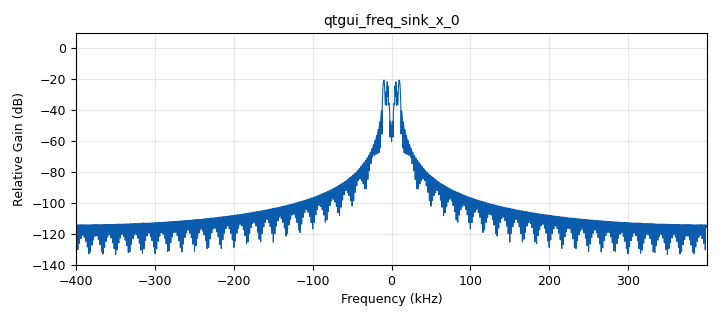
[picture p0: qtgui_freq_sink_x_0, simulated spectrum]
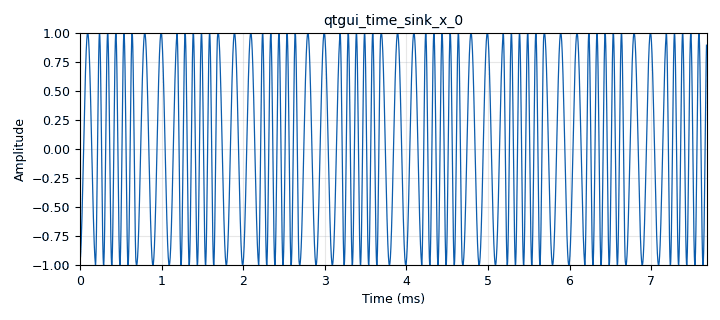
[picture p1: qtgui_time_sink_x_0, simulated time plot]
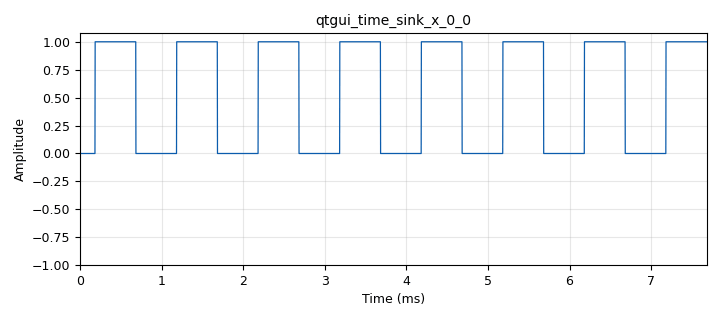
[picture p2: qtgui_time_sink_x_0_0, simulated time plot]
options:
  parameters:
    generate_options: qt_gui
    id: Lab3
    output_language: python
    title: Not titled yet
  states: {}

blocks:
- name: samp_rate
  id: variable
  parameters:
    value: '800000'
  states: {}
- name: analog_sig_source_x_0
  id: analog_sig_source_x
  parameters:
    amp: '1'
    freq: '1000'
    offset: '0'
    phase: '0'
    samp_rate: samp_rate
    type: byte
    waveform: analog.GR_SQR_WAVE
  states: {}
- name: analog_sig_source_x_0_0
  id: analog_sig_source_x
  parameters:
    amp: '1'
    freq: '1000'
    offset: '0'
    phase: '0'
    samp_rate: samp_rate
    type: byte
    waveform: analog.GR_SQR_WAVE
  states: {}
- name: blocks_add_const_vxx_0
  id: blocks_add_const_vxx
  parameters:
    const: '1'
    type: float
  states: {}
- name: blocks_float_to_complex_0
  id: blocks_float_to_complex
  parameters: {}
  states: {}
- name: blocks_uchar_to_float_0
  id: blocks_uchar_to_float
  parameters: {}
  states: {}
- name: blocks_uchar_to_float_0_0
  id: blocks_uchar_to_float
  parameters: {}
  states: {}
- name: blocks_vco_f_0
  id: blocks_vco_f
  parameters:
    amplitude: '1'
    samp_rate: samp_rate
    sensitivity: '31415'
  states: {}
- name: qtgui_freq_sink_x_0
  id: qtgui_freq_sink_x
  parameters:
    bw: samp_rate
    fc: '0'
    fftsize: '2048'
    type: complex
  states: {}
- name: qtgui_time_sink_x_0
  id: qtgui_time_sink_x
  parameters:
    size: '6144'
    srate: samp_rate
    type: float
  states: {}
- name: qtgui_time_sink_x_0_0
  id: qtgui_time_sink_x
  parameters:
    size: '6144'
    srate: samp_rate
    type: float
  states: {}

connections:
- [analog_sig_source_x_0, '0', blocks_uchar_to_float_0, '0']
- [analog_sig_source_x_0_0, '0', blocks_uchar_to_float_0_0, '0']
- [blocks_add_const_vxx_0, '0', blocks_vco_f_0, '0']
- [blocks_float_to_complex_0, '0', qtgui_freq_sink_x_0, '0']
- [blocks_uchar_to_float_0, '0', blocks_add_const_vxx_0, '0']
- [blocks_uchar_to_float_0_0, '0', qtgui_time_sink_x_0_0, '0']
- [blocks_vco_f_0, '0', blocks_float_to_complex_0, '0']
- [blocks_vco_f_0, '0', qtgui_time_sink_x_0, '0']

metadata:
  file_format: 1
  grc_version: 3.10.9.2
